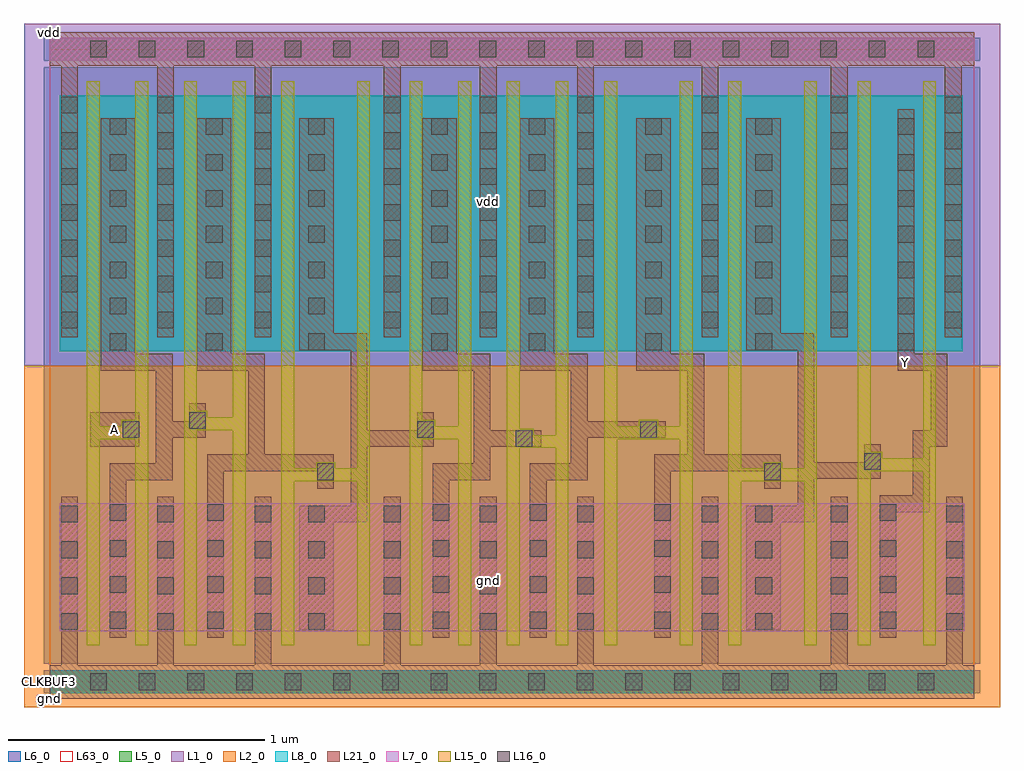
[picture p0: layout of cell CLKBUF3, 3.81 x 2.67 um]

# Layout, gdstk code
import gdstk
lib = gdstk.Library(unit=1e-6, precision=1e-09)
def R(c, l, rs):  # rectangles x0, y0, x1, y1
    for r in rs: c.add(gdstk.rectangle(r[:2], r[2:], *l))
def A(c, l, x, y, w, h, nx, ny, dx, dy):  # array of equal rectangles
    R(c, l, [(x+i*dx, y+j*dy, x+i*dx+w, y+j*dy+h) for i in range(nx) for j in range(ny)])
def P(c, l, *ps):  # polygons
    for p in ps: c.add(gdstk.Polygon(p, *l))
L1_0 = (1, 0)
L2_0 = (2, 0)
L5_0 = (5, 0)
L6_0 = (6, 0)
L7_0 = (7, 0)
L8_0 = (8, 0)
L15_0 = (15, 0)
L16_0 = (16, 0)
L21_0 = (21, 0)
L63_0 = (63, 0)

clkbuf3 = lib.new_cell('CLKBUF3')
R(clkbuf3, L1_0, [(-0.1,1.235,3.71,2.57)])
R(clkbuf3, L2_0, [(-0.1,-0.1,3.71,1.235)])
A(clkbuf3, L5_0, 0.145, 0.198, 0.05, 0.5, 5, 1, 0.19, 0)
A(clkbuf3, L5_0, 0.195, 0.198, 0.14, 0.5, 4, 1, 0.19, 0)
A(clkbuf3, L5_0, 1.405, 0.198, 0.05, 0.5, 5, 1, 0.19, 0)
A(clkbuf3, L5_0, 1.455, 0.198, 0.14, 0.5, 4, 1, 0.19, 0)
A(clkbuf3, L5_0, 0.145, 1.29, 0.05, 1, 5, 1, 0.19, 0)
A(clkbuf3, L5_0, 0.195, 1.29, 0.14, 1, 4, 1, 0.19, 0)
A(clkbuf3, L5_0, 1.405, 1.29, 0.05, 1, 5, 1, 0.19, 0)
A(clkbuf3, L5_0, 1.455, 1.29, 0.14, 1, 4, 1, 0.19, 0)
R(clkbuf3, L5_0, [(0,-0.045,3.61,0.045), (0.04,0.198,0.145,0.698), (0.955,0.198,1.2,0.698), (1.2,0.198,1.25,0.698), (1.25,0.198,1.405,0.698), (2.215,0.198,2.46,0.698), (2.46,0.198,2.51,0.698), (2.51,0.198,2.65,0.698), (2.65,0.198,2.7,0.698), (2.7,0.198,2.945,0.698), (2.945,0.198,2.995,0.698), (2.995,0.198,3.155,0.698), (3.155,0.198,3.205,0.698), (3.205,0.198,3.41,0.698), (3.41,0.198,3.46,0.698), (3.46,0.198,3.57,0.698), (0.04,1.29,0.145,2.29), (0.955,1.29,1.2,2.29), (1.2,1.29,1.25,2.29), (1.25,1.29,1.405,2.29), (2.215,1.29,2.46,2.29), (2.46,1.29,2.51,2.29), (2.51,1.29,2.65,2.29), (2.65,1.29,2.7,2.29), (2.7,1.29,2.945,2.29), (2.945,1.29,2.995,2.29), (2.995,1.29,3.155,2.29), (3.155,1.29,3.205,2.29), (3.205,1.29,3.41,2.29), (3.41,1.29,3.46,2.29), (3.46,1.29,3.565,2.29), (0,2.425,3.61,2.515)])
R(clkbuf3, L6_0, [(-0.023,-0.045,3.633,0.045), (-0.023,-0.045,3.633,0.045), (-0.023,0.07,3.633,1.235), (-0.023,1.235,3.633,2.4), (-0.023,2.425,3.633,2.515), (-0.023,2.425,3.633,2.515)])
A(clkbuf3, L7_0, 0.145, 0.198, 0.05, 0.5, 5, 1, 0.19, 0)
A(clkbuf3, L7_0, 0.195, 0.198, 0.14, 0.5, 4, 1, 0.19, 0)
A(clkbuf3, L7_0, 1.405, 0.198, 0.05, 0.5, 5, 1, 0.19, 0)
A(clkbuf3, L7_0, 1.455, 0.198, 0.14, 0.5, 4, 1, 0.19, 0)
R(clkbuf3, L7_0, [(0.04,0.198,0.145,0.698), (0.955,0.198,1.2,0.698), (1.2,0.198,1.25,0.698), (1.25,0.198,1.405,0.698), (2.215,0.198,2.46,0.698), (2.46,0.198,2.51,0.698), (2.51,0.198,2.65,0.698), (2.65,0.198,2.7,0.698), (2.7,0.198,2.945,0.698), (2.945,0.198,2.995,0.698), (2.995,0.198,3.155,0.698), (3.155,0.198,3.205,0.698), (3.205,0.198,3.41,0.698), (3.41,0.198,3.46,0.698), (3.46,0.198,3.57,0.698), (0,2.425,3.61,2.515)])
A(clkbuf3, L8_0, 0.145, 1.29, 0.05, 1, 5, 1, 0.19, 0)
A(clkbuf3, L8_0, 0.195, 1.29, 0.14, 1, 4, 1, 0.19, 0)
A(clkbuf3, L8_0, 1.405, 1.29, 0.05, 1, 5, 1, 0.19, 0)
A(clkbuf3, L8_0, 1.455, 1.29, 0.14, 1, 4, 1, 0.19, 0)
R(clkbuf3, L8_0, [(0,-0.045,3.61,0.045), (0.04,1.29,0.145,2.29), (0.955,1.29,1.2,2.29), (1.2,1.29,1.25,2.29), (1.25,1.29,1.405,2.29), (2.215,1.29,2.46,2.29), (2.46,1.29,2.51,2.29), (2.51,1.29,2.65,2.29), (2.65,1.29,2.7,2.29), (2.7,1.29,2.945,2.29), (2.945,1.29,2.995,2.29), (2.995,1.29,3.155,2.29), (3.155,1.29,3.205,2.29), (3.205,1.29,3.41,2.29), (3.41,1.29,3.46,2.29), (3.46,1.29,3.565,2.29)])
A(clkbuf3, L15_0, 0.145, 0.143, 0.05, 0.055, 5, 2, 0.19, 2.147)
A(clkbuf3, L15_0, 1.405, 0.143, 0.05, 0.055, 5, 2, 0.19, 2.147)
A(clkbuf3, L15_0, 0.145, 0.198, 0.05, 0.5, 5, 1, 0.19, 0)
A(clkbuf3, L15_0, 1.405, 0.198, 0.05, 0.5, 5, 1, 0.19, 0)
A(clkbuf3, L15_0, 0.145, 1.29, 0.05, 1, 5, 1, 0.19, 0)
A(clkbuf3, L15_0, 1.405, 1.29, 0.05, 1, 5, 1, 0.19, 0)
R(clkbuf3, L15_0, [(1.2,0.143,1.25,0.198), (2.46,0.143,2.51,0.198), (2.65,0.143,2.7,0.198), (2.945,0.143,2.995,0.198), (3.155,0.143,3.205,0.198), (3.41,0.143,3.46,0.198), (1.2,0.198,1.25,0.698), (2.46,0.198,2.51,0.698), (2.65,0.198,2.7,0.698), (2.945,0.198,2.995,0.698), (3.155,0.198,3.205,0.698), (3.41,0.198,3.46,0.698), (1.2,1.29,1.25,2.29), (2.46,1.29,2.51,2.29), (2.65,1.29,2.7,2.29), (2.945,1.29,2.995,2.29), (3.155,1.29,3.205,2.29), (3.41,1.29,3.46,2.29), (1.2,2.29,1.25,2.345), (2.46,2.29,2.51,2.345), (2.65,2.29,2.7,2.345), (2.945,2.29,2.995,2.345), (3.155,2.29,3.205,2.345), (3.41,2.29,3.46,2.345)])
P(clkbuf3, L15_0, [(0.145,1.29),(0.195,1.29),(0.195,0.998),(0.28,0.998),(0.28,1.023),(0.335,1.023),(0.335,1.29),(0.385,1.29),(0.385,0.698),(0.335,0.698),(0.335,0.948),(0.195,0.948),(0.195,0.698),(0.145,0.698)],
  [(0.525,1.29),(0.575,1.29),(0.575,1.058),(0.615,1.058),(0.615,1.033),(0.715,1.033),(0.715,1.29),(0.765,1.29),(0.765,0.698),(0.715,0.698),(0.715,0.983),(0.575,0.983),(0.575,0.698),(0.525,0.698)],
  [(0.905,1.29),(0.955,1.29),(0.955,0.833),(1.04,0.833),(1.04,0.858),(1.115,0.858),(1.115,0.833),(1.2,0.833),(1.2,1.29),(1.25,1.29),(1.25,0.698),(1.2,0.698),(1.2,0.783),(0.955,0.783),(0.955,0.698),(0.905,0.698)],
  [(1.405,1.29),(1.455,1.29),(1.455,1.023),(1.505,1.023),(1.505,0.998),(1.595,0.998),(1.595,1.29),(1.645,1.29),(1.645,0.698),(1.595,0.698),(1.595,0.948),(1.455,0.948),(1.455,0.698),(1.405,0.698)],
  [(1.785,1.29),(1.835,1.29),(1.835,0.988),(1.89,0.988),(1.89,0.963),(1.975,0.963),(1.975,1.29),(2.025,1.29),(2.025,0.698),(1.975,0.698),(1.975,0.913),(1.835,0.913),(1.835,0.698),(1.785,0.698)],
  [(2.165,1.29),(2.215,1.29),(2.215,0.998),(2.3,0.998),(2.3,1.023),(2.375,1.023),(2.375,0.998),(2.46,0.998),(2.46,1.29),(2.51,1.29),(2.51,0.698),(2.46,0.698),(2.46,0.948),(2.215,0.948),(2.215,0.698),(2.165,0.698)],
  [(2.65,1.29),(2.7,1.29),(2.7,0.833),(2.785,0.833),(2.785,0.858),(2.86,0.858),(2.86,0.833),(2.945,0.833),(2.945,1.29),(2.995,1.29),(2.995,0.698),(2.945,0.698),(2.945,0.783),(2.7,0.783),(2.7,0.698),(2.65,0.698)],
  [(3.155,1.29),(3.205,1.29),(3.205,0.898),(3.25,0.898),(3.25,0.873),(3.41,0.873),(3.41,1.29),(3.46,1.29),(3.46,0.698),(3.41,0.698),(3.41,0.823),(3.205,0.823),(3.205,0.698),(3.155,0.698)])
A(clkbuf3, L16_0, 0.158, -0.033, 0.065, 0.066, 18, 1, 0.19, 0)
A(clkbuf3, L16_0, 0.045, 0.203, 0.065, 0.065, 1, 4, 0, 0.14)
A(clkbuf3, L16_0, 0.42, 0.203, 0.065, 0.065, 1, 4, 0, 0.14)
A(clkbuf3, L16_0, 0.8, 0.203, 0.065, 0.065, 1, 4, 0, 0.14)
A(clkbuf3, L16_0, 1.01, 0.203, 0.065, 0.065, 1, 4, 0, 0.14)
A(clkbuf3, L16_0, 1.305, 0.203, 0.065, 0.065, 1, 4, 0, 0.14)
A(clkbuf3, L16_0, 1.68, 0.203, 0.065, 0.065, 1, 4, 0, 0.14)
A(clkbuf3, L16_0, 2.06, 0.203, 0.065, 0.065, 1, 4, 0, 0.14)
A(clkbuf3, L16_0, 2.545, 0.203, 0.065, 0.065, 1, 4, 0, 0.14)
A(clkbuf3, L16_0, 2.755, 0.203, 0.065, 0.065, 1, 4, 0, 0.14)
A(clkbuf3, L16_0, 3.05, 0.203, 0.065, 0.065, 1, 4, 0, 0.14)
A(clkbuf3, L16_0, 3.5, 0.203, 0.065, 0.065, 1, 4, 0, 0.14)
A(clkbuf3, L16_0, 0.235, 0.208, 0.065, 0.065, 1, 4, 0, 0.14)
A(clkbuf3, L16_0, 0.615, 0.208, 0.065, 0.065, 1, 4, 0, 0.14)
A(clkbuf3, L16_0, 1.495, 0.208, 0.065, 0.065, 1, 4, 0, 0.14)
A(clkbuf3, L16_0, 1.875, 0.208, 0.065, 0.065, 1, 4, 0, 0.14)
A(clkbuf3, L16_0, 2.36, 0.208, 0.065, 0.065, 1, 4, 0, 0.14)
A(clkbuf3, L16_0, 3.24, 0.208, 0.065, 0.065, 1, 4, 0, 0.14)
A(clkbuf3, L16_0, 0.235, 1.295, 0.065, 0.065, 1, 7, 0, 0.14)
A(clkbuf3, L16_0, 0.61, 1.295, 0.065, 0.065, 1, 7, 0, 0.14)
A(clkbuf3, L16_0, 1.01, 1.295, 0.065, 0.065, 1, 7, 0, 0.14)
A(clkbuf3, L16_0, 1.49, 1.295, 0.065, 0.065, 1, 7, 0, 0.14)
A(clkbuf3, L16_0, 1.87, 1.295, 0.065, 0.065, 1, 7, 0, 0.14)
A(clkbuf3, L16_0, 2.325, 1.295, 0.065, 0.065, 1, 7, 0, 0.14)
A(clkbuf3, L16_0, 2.755, 1.295, 0.065, 0.065, 1, 7, 0, 0.14)
A(clkbuf3, L16_0, 3.31, 1.295, 0.065, 0.065, 1, 7, 0, 0.14)
A(clkbuf3, L16_0, 0.045, 1.38, 0.065, 0.065, 1, 7, 0, 0.14)
A(clkbuf3, L16_0, 0.42, 1.38, 0.065, 0.065, 1, 7, 0, 0.14)
A(clkbuf3, L16_0, 0.8, 1.38, 0.065, 0.065, 1, 7, 0, 0.14)
A(clkbuf3, L16_0, 1.305, 1.38, 0.065, 0.065, 1, 7, 0, 0.14)
A(clkbuf3, L16_0, 1.68, 1.38, 0.065, 0.065, 1, 7, 0, 0.14)
A(clkbuf3, L16_0, 2.06, 1.38, 0.065, 0.065, 1, 7, 0, 0.14)
A(clkbuf3, L16_0, 2.545, 1.38, 0.065, 0.065, 1, 7, 0, 0.14)
A(clkbuf3, L16_0, 3.05, 1.38, 0.065, 0.065, 1, 7, 0, 0.14)
A(clkbuf3, L16_0, 3.495, 1.38, 0.065, 0.065, 1, 7, 0, 0.14)
A(clkbuf3, L16_0, 0.158, 2.438, 0.065, 0.065, 18, 1, 0.19, 0)
R(clkbuf3, L16_0, [(1.045,0.788,1.11,0.853), (2.79,0.788,2.855,0.853), (3.18,0.828,3.245,0.893), (1.82,0.918,1.885,0.983), (0.285,0.953,0.35,1.018), (1.435,0.953,1.5,1.018), (2.305,0.953,2.37,1.018), (0.545,0.988,0.61,1.053)])
R(clkbuf3, L21_0, [(0.158,0.918,0.35,1.053)])
P(clkbuf3, L21_0, [(0,2.405),(0,2.535),(3.61,2.535),(3.61,2.405),(3.56,2.405),(3.56,1.345),(3.495,1.345),(3.495,2.405),(3.115,2.405),(3.115,1.345),(3.05,1.345),(3.05,2.405),(2.61,2.405),(2.61,1.345),(2.545,1.345),(2.545,2.405),(2.125,2.405),(2.125,1.345),(2.06,1.345),(2.06,2.405),(1.745,2.405),(1.745,1.345),(1.68,1.345),(1.68,2.405),(1.37,2.405),(1.37,1.345),(1.305,1.345),(1.305,2.405),(0.865,2.405),(0.865,1.345),(0.8,1.345),(0.8,2.405),(0.485,2.405),(0.485,1.345),(0.42,1.345),(0.42,2.405),(0.11,2.405),(0.11,1.345),(0.045,1.345),(0.045,2.405)],
  [(0,-0.065),(0,0.065),(0.045,0.065),(0.045,0.723),(0.11,0.723),(0.11,0.065),(0.42,0.065),(0.42,0.723),(0.485,0.723),(0.485,0.065),(0.8,0.065),(0.8,0.723),(0.865,0.723),(0.865,0.065),(1.305,0.065),(1.305,0.723),(1.37,0.723),(1.37,0.065),(1.68,0.065),(1.68,0.723),(1.745,0.723),(1.745,0.065),(2.06,0.065),(2.06,0.723),(2.125,0.723),(2.125,0.065),(2.545,0.065),(2.545,0.723),(2.61,0.723),(2.61,0.065),(3.05,0.065),(3.05,0.723),(3.115,0.723),(3.115,0.065),(3.5,0.065),(3.5,0.723),(3.565,0.723),(3.565,0.065),(3.61,0.065),(3.61,-0.065)],
  [(0.48,0.788),(0.3,0.788),(0.3,0.173),(0.235,0.173),(0.235,0.853),(0.415,0.853),(0.415,1.215),(0.2,1.215),(0.2,2.2),(0.335,2.2),(0.335,1.28),(0.48,1.28),(0.48,1.018),(0.545,1.018),(0.545,1.088),(0.61,1.088),(0.61,0.953),(0.48,0.953)],
  [(0.775,0.888),(0.775,1.215),(0.575,1.215),(0.575,2.2),(0.71,2.2),(0.71,1.28),(0.84,1.28),(0.84,0.888),(1.11,0.888),(1.11,0.753),(1.045,0.753),(1.045,0.823),(0.68,0.823),(0.68,0.173),(0.615,0.173),(0.615,0.888)],
  [(1.24,0.623),(1.11,0.623),(1.11,0.203),(0.975,0.203),(0.975,0.688),(1.175,0.688),(1.175,1.295),(0.975,1.295),(0.975,2.2),(1.11,2.2),(1.11,1.36),(1.24,1.36),(1.24,0.983),(1.435,0.983),(1.435,1.053),(1.5,1.053),(1.5,0.918),(1.24,0.918)],
  [(1.72,0.788),(1.56,0.788),(1.56,0.173),(1.495,0.173),(1.495,0.853),(1.655,0.853),(1.655,1.215),(1.455,1.215),(1.455,2.2),(1.59,2.2),(1.59,1.28),(1.72,1.28),(1.72,0.983),(1.92,0.983),(1.92,0.918),(1.72,0.918)],
  [(2.1,0.788),(1.94,0.788),(1.94,0.173),(1.875,0.173),(1.875,0.853),(2.035,0.853),(2.035,1.215),(1.835,1.215),(1.835,2.2),(1.97,2.2),(1.97,1.28),(2.1,1.28),(2.1,1.018),(2.405,1.018),(2.405,0.953),(2.1,0.953)],
  [(2.49,0.888),(2.49,1.215),(2.29,1.215),(2.29,2.2),(2.425,2.2),(2.425,1.28),(2.555,1.28),(2.555,0.888),(2.855,0.888),(2.855,0.753),(2.79,0.753),(2.79,0.823),(2.425,0.823),(2.425,0.173),(2.36,0.173),(2.36,0.888)],
  [(2.985,0.623),(2.855,0.623),(2.855,0.203),(2.72,0.203),(2.72,0.688),(2.92,0.688),(2.92,1.295),(2.72,1.295),(2.72,2.2),(2.855,2.2),(2.855,1.36),(2.985,1.36),(2.985,0.858),(3.18,0.858),(3.18,0.928),(3.245,0.928),(3.245,0.793),(2.985,0.793)],
  [(3.37,0.728),(3.37,0.983),(3.44,0.983),(3.44,1.215),(3.31,1.215),(3.31,2.235),(3.375,2.235),(3.375,1.28),(3.505,1.28),(3.505,0.918),(3.435,0.918),(3.435,0.663),(3.305,0.663),(3.305,0.173),(3.24,0.173),(3.24,0.728)])
R(clkbuf3, L63_0, [(0,0,3.61,2.47)])
clkbuf3.add(gdstk.Label('vdd', (1.713,1.875), layer=21, texttype=1))
clkbuf3.add(gdstk.Label('gnd', (1.713,0.394), layer=21, texttype=1))
clkbuf3.add(gdstk.Label('Y', (3.343,1.248), layer=21, texttype=1))
clkbuf3.add(gdstk.Label('A', (0.254,0.985), layer=21, texttype=1))
clkbuf3.add(gdstk.Label('vdd', (0,2.535), layer=21, texttype=2))
clkbuf3.add(gdstk.Label('gnd', (0,-0.065), layer=21, texttype=2))
clkbuf3.add(gdstk.Label('CLKBUF3', (0,0), layer=63, texttype=1))

lib.write_gds('CLKBUF3.gds')
